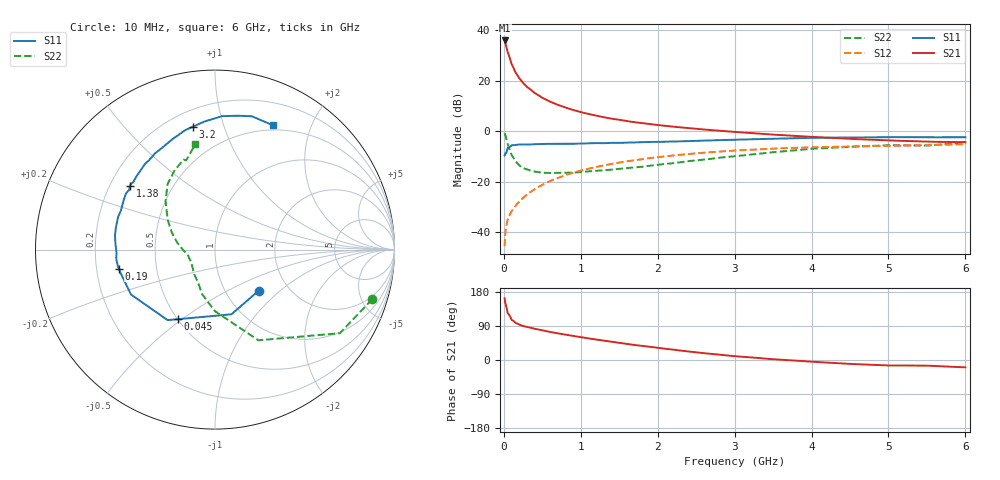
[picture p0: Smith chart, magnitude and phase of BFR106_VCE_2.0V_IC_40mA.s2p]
! Infineon Technologies  Discrete & RF Semiconductors
! BFR106
! VCE =  2.0 V,  IC =  40 mA
! Common Emitter S-Parameters:  Nov 2015
# GHz  S  MA  R  50
!  f  S11  S21  S12  S22
! GHz  MAG  ANG  MAG  ANG  MAG  ANG  MAG  ANG
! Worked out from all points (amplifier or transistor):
!   210 points, 10 MHz to 6 GHz, reference 50 ohm
!   highest |S21| = 36.0 dB at 10 MHz (marker M1)
!   |S21| within 3 dB of that: start of sweep to 36.33 MHz
!   unconditionally stable (mu >= 1): 255.5 MHz to 2.684 GHz; 5.125 GHz to end of sweep
!   at 185 MHz: K = 0.92, MSG = 25.1 dB, |S12| = -28.4 dB
!   at 1.52 GHz: K = 1.06, MAG = 6.9 dB, |S12| = -12.3 dB
!   at 6 GHz: K = 1.01, MAG = -0.3 dB, |S12| = -5.1 dB
!   S11 on the Smith chart (normalised r, x): 10 MHz: 1.42, -0.73; 45 MHz: 0.50, -0.48; 190 MHz: 0.30, -0.09; 1.38 GHz: 0.28, +0.31; 3.2 GHz: 0.30, +0.79; 6 GHz: 0.44, +1.47
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0.01  0.334 -43.1  63.4 162.9  0.0053 79.4  0.918 -17.6
0.02  0.3719 -75.7  56.59 149.1  0.0101 69.6  0.8373 -33.8
0.045  0.4383 -117.8  39.67 129.4  0.0166 58.4  0.5913 -57.5
0.05  0.4734 -123.9  37.14 123.5  0.018 57.2  0.5603 -64.4
0.1  0.531 -151.9  21.63 106.3  0.026 57.6  0.3423 -90.2
0.15  0.5383 -163.7  14.85 98.2  0.033 61.3  0.2587 -106.1
0.19  0.5463 -168.8  12.03 94.7  0.039 64.0  0.2211 -113.4
0.2  0.549 -170.0  11.34 93.5  0.0405 64.6  0.2124 -115.6
0.26  0.552 -175.4  8.792 89.2  0.0494 66.6  0.1853 -126.6
0.3  0.5489 -178.0  7.612 87.1  0.0557 67.8  0.176 -131.7
0.4  0.5561 176.4  5.763 82.4  0.0713 69.3  0.1598 -142.4
0.5  0.5631 171.7  4.636 78.2  0.087 69.4  0.1513 -149.6
0.6  0.5658 167.9  3.888 74.1  0.1037 69.0  0.1497 -154.3
0.8  0.5699 161.4  2.958 66.9  0.1351 66.8  0.1523 -163.2
1.02  0.5739 153.7  2.368 59.7  0.1696 64.3  0.1567 -168.7
1.38  0.5913 143.1  1.808 48.8  0.2235 58.7  0.1735 -177.7
2.02  0.6192 126.2  1.325 31.5  0.3101 48.3  0.2199 167.8
3.1  0.6903 102.1  0.952 8.6  0.4238 30.5  0.3329 143.4
3.2  0.6955 100.3  0.929 7.1  0.4315 28.9  0.3455 141.2
4.1  0.7462 85.7  0.765 -5.6  0.4881 15.6  0.4585 124.0
5.1  0.7688 73.5  0.654 -14.5  0.52 3.7  0.5293 109.0
6  0.7641 65.1  0.611 -19.4  0.5568 -5.4  0.5974 100.5
